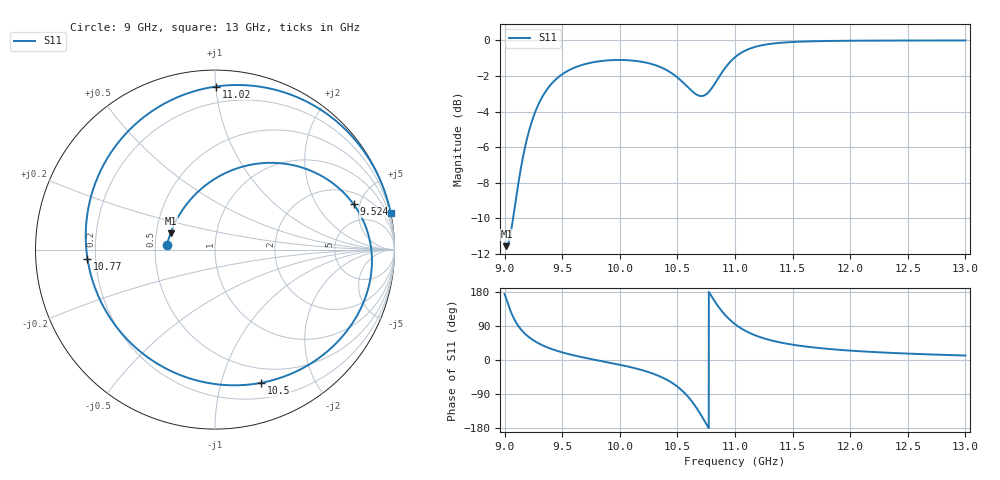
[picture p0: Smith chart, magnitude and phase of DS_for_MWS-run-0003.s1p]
! TOUCHSTONE file generated by CST DESIGN STUDIO
! Date and time: Tue Feb  4 16:44:41 2025
! Project name: C:\Work\MatlabApps\UnitCellOptimizationMatlab\CST\unitcell.cst
! Tree item: Tasks\Sweep1\SPara1\S-Parameters
! Header version: 2024
! Port assignment regex: !\s*Touchstone port\s*([0-9]+)\s*=\s*(CST MWS port|CST DES external port|CST DES block port)\s*(.+)\s* \(\"(.*)\"\)(\s*mode\s*([0-9]+))?.*
! Touchstone port assignment:
! Touchstone port 1 = CST DES external port 1 ("")
# GHz S MA R 50
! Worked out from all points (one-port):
!   4001 points, 9 GHz to 13 GHz, reference 50 ohm
!   lowest |S11| = -11.6 dB at 9.016 GHz (marker M1), VSWR 1.72, Z = 29.7 + j5.86 ohm
!   |S11| at or under -10 dB: start of sweep to 9.074 GHz
!   S11 on the Smith chart (normalised r, x): 9 GHz: 0.58, +0.04; 9.524 GHz: 2.94, +4.37; 10.5 GHz: 0.35, -1.34; 10.77 GHz: 0.17, -0.03; 11.02 GHz: 0.10, +1.00; 13 GHz: 0.01, +9.68
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9  0.2683 174.0
9.016  0.2638 159.6
9.106  0.3716 95.8
9.197  0.5332 63.9
9.339  0.7045 37.4
9.5  0.8031 20.1
9.524  0.8126 18.1
9.744  0.865 2.9
10  0.8811 -12.5
10.298  0.8542 -37.2
10.406  0.8254 -51.8
10.5  0.7868 -70.2
10.503  0.7853 -71.0
10.579  0.7451 -92.3
10.641  0.7135 -115.5
10.699  0.6977 -142.2
10.765  0.7125 -176.0
10.821  0.7526 156.3
10.887  0.8127 128.5
10.941  0.8579 110.3
11  0.8969 94.6
11.022  0.9086 89.7
11.117  0.945 72.8
11.222  0.9673 59.9
11.5  0.9898 40.4
12  0.9979 24.7
12.5  0.9994 16.9
13  0.9998 11.8
